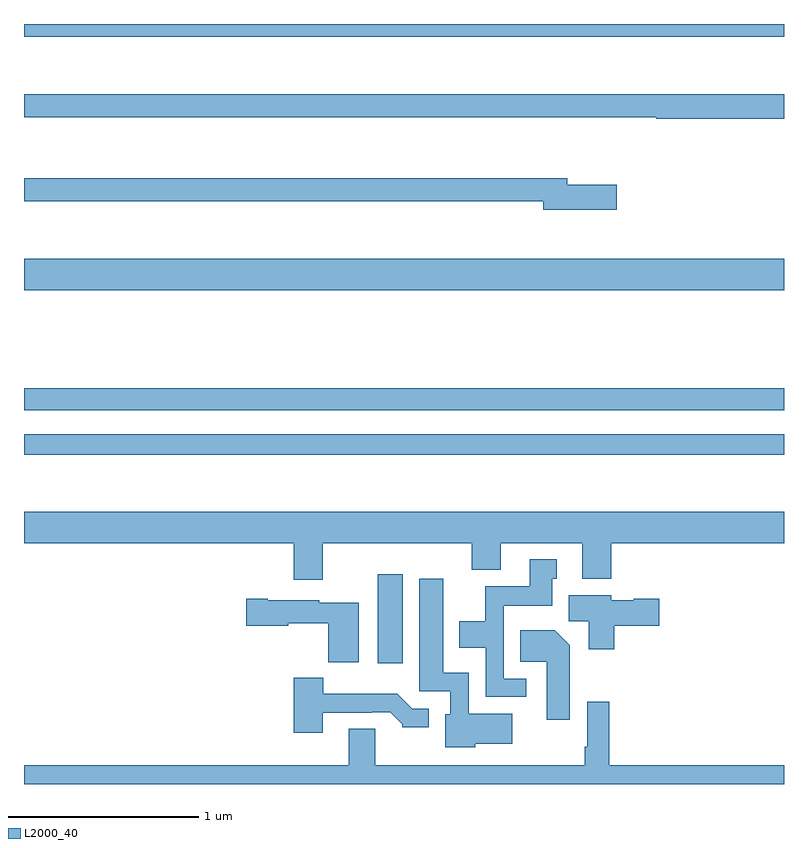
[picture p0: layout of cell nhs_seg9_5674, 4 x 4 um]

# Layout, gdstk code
import gdstk
lib = gdstk.Library(unit=1e-6, precision=1e-09)
def R(c, l, rs):  # rectangles x0, y0, x1, y1
    for r in rs: c.add(gdstk.rectangle(r[:2], r[2:], *l))
def P(c, l, *ps):  # polygons
    for p in ps: c.add(gdstk.Polygon(p, *l))
L2000_40 = (2000, 40)

nhs_seg9_5674 = lib.new_cell('nhs_seg9_5674')
R(nhs_seg9_5674, L2000_40, [(442.862,1181.136,442.993,1181.605), (441,1182.234,445,1182.342), (441,1182.468,445,1182.584), (441,1183.1,445,1183.264), (441,1184.432,445,1184.5)])
P(nhs_seg9_5674, L2000_40, [(445,1184.131),(441,1184.131),(441,1184.01),(444.328,1184.01),(444.328,1184.002),(445,1184.002)],
  [(444.121,1183.653),(443.86,1183.653),(443.86,1183.687),(441,1183.687),(441,1183.566),(443.732,1183.566),(443.732,1183.523),(444.121,1183.523)],
  [(442.573,1181.768),(443.357,1181.768),(443.357,1181.627),(443.509,1181.627),(443.509,1181.768),(443.939,1181.768),(443.939,1181.579),(444.092,1181.579),(444.092,1181.768),(445,1181.768),(445,1181.932),(441,1181.932),(441,1181.768),(442.421,1181.768),(442.421,1181.574),(442.573,1181.574)],
  [(443.644,1181.055),(443.526,1181.055),(443.526,1181.438),(443.779,1181.438),(443.779,1181.58),(443.803,1181.58),(443.803,1181.683),(443.663,1181.683),(443.663,1181.542),(443.428,1181.542),(443.428,1181.356),(443.291,1181.356),(443.291,1181.216),(443.43,1181.216),(443.43,1180.959),(443.644,1180.959)],
  [(443.376,1180.712),(443.569,1180.712),(443.569,1180.87),(443.34,1180.87),(443.34,1181.086),(443.206,1181.086),(443.206,1181.581),(443.081,1181.581),(443.081,1180.989),(443.244,1180.989),(443.244,1180.866),(443.216,1180.866),(443.216,1180.694),(443.376,1180.694)],
  [(444.107,1181.333),(444.343,1181.333),(444.343,1181.475),(444.21,1181.475),(444.21,1181.467),(444.09,1181.467),(444.09,1181.494),(443.867,1181.494),(443.867,1181.356),(443.972,1181.356),(443.972,1181.208),(444.107,1181.208)],
  [(442.762,1181.455),(442.554,1181.455),(442.554,1181.467),(442.282,1181.467),(442.282,1181.475),(442.17,1181.475),(442.17,1181.333),(442.392,1181.333),(442.392,1181.345),(442.6,1181.345),(442.6,1181.141),(442.762,1181.141)],
  [(443.872,1181.23),(443.794,1181.308),(443.611,1181.308),(443.611,1181.144),(443.75,1181.144),(443.75,1180.839),(443.872,1180.839)],
  [(442.573,1180.875),(442.829,1180.875),(442.829,1180.878),(442.928,1180.878),(442.992,1180.814),(442.992,1180.799),(443.131,1180.799),(443.131,1180.896),(443.043,1180.896),(442.965,1180.975),(442.576,1180.975),(442.576,1181.059),(442.421,1181.059),(442.421,1180.77),(442.573,1180.77)],
  [(445,1180.6),(444.08,1180.6),(444.08,1180.933),(443.964,1180.933),(443.964,1180.696),(443.952,1180.696),(443.952,1180.6),(442.849,1180.6),(442.849,1180.79),(442.709,1180.79),(442.709,1180.6),(441,1180.6),(441,1180.5),(445,1180.5)])

lib.write_gds('nhs_seg9_5674.gds')
